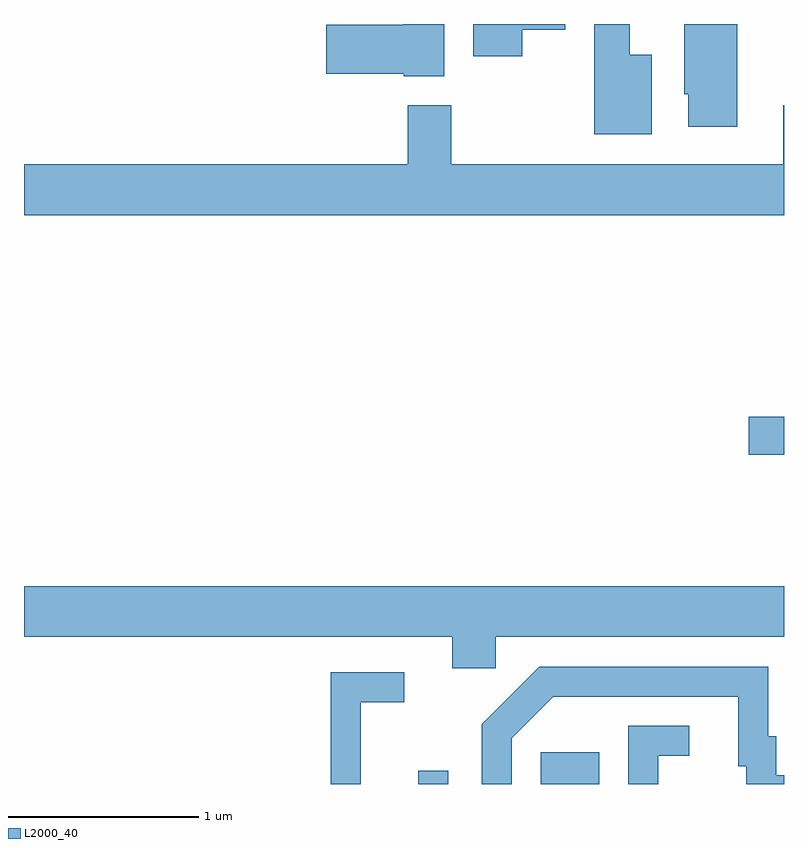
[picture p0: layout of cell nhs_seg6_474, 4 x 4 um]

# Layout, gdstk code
import gdstk
lib = gdstk.Library(unit=1e-6, precision=1e-09)
def R(c, l, rs):  # rectangles x0, y0, x1, y1
    for r in rs: c.add(gdstk.rectangle(r[:2], r[2:], *l))
def P(c, l, *ps):  # polygons
    for p in ps: c.add(gdstk.Polygon(p, *l))
L2000_40 = (2000, 40)

nhs_seg6_474 = lib.new_cell('nhs_seg6_474')
R(nhs_seg6_474, L2000_40, [(201.686,1538.162,201.844,1538.233), (202.331,1538.162,202.639,1538.329), (203.426,1539.896,203.611,1540.094)])
P(nhs_seg6_474, L2000_40, [(201.824,1542.162),(201.606,1542.162),(201.606,1542.159),(201.201,1542.159),(201.201,1541.901),(201.61,1541.901),(201.61,1541.886),(201.824,1541.886)],
  [(202.234,1542.131),(202.459,1542.131),(202.459,1542.162),(201.976,1542.162),(201.976,1541.991),(202.234,1541.991)],
  [(203.364,1542.162),(203.086,1542.162),(203.086,1541.791),(203.106,1541.791),(203.106,1541.621),(203.364,1541.621)],
  [(202.914,1541.999),(202.799,1541.999),(202.799,1542.162),(202.611,1542.162),(202.611,1541.581),(202.914,1541.581)],
  [(203.611,1541.734),(203.606,1541.734),(203.606,1541.424),(201.859,1541.424),(201.859,1541.734),(201.631,1541.734),(201.631,1541.424),(199.611,1541.424),(199.611,1541.156),(203.611,1541.156)],
  [(202.094,1538.936),(203.611,1538.936),(203.611,1539.204),(199.611,1539.204),(199.611,1538.936),(201.866,1538.936),(201.866,1538.771),(202.094,1538.771)],
  [(202.179,1538.404),(202.397,1538.621),(203.371,1538.621),(203.371,1538.256),(203.411,1538.256),(203.411,1538.162),(203.611,1538.162),(203.611,1538.209),(203.569,1538.209),(203.569,1538.414),(203.529,1538.414),(203.529,1538.779),(202.324,1538.779),(202.021,1538.477),(202.021,1538.162),(202.179,1538.162)],
  [(201.384,1538.591),(201.613,1538.591),(201.613,1538.749),(201.226,1538.749),(201.226,1538.162),(201.384,1538.162)],
  [(202.949,1538.311),(203.113,1538.311),(203.113,1538.469),(202.791,1538.469),(202.791,1538.162),(202.949,1538.162)])

lib.write_gds('nhs_seg6_474.gds')
